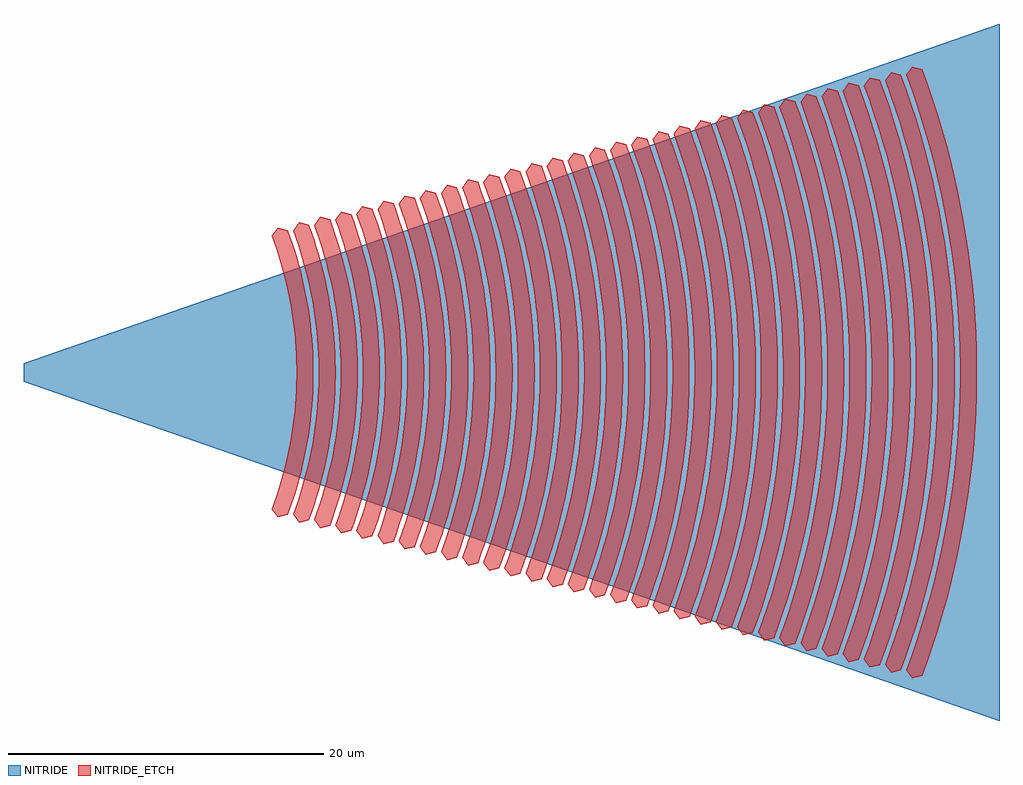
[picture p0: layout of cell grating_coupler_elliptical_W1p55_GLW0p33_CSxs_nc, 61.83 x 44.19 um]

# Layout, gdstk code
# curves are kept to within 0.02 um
import gdstk
lib = gdstk.Library(unit=1e-6, precision=1e-09)
def P(c, l, *ps):  # polygons
    for p in ps: c.add(gdstk.Polygon(p, *l))
NITRIDE = (203, 0)
NITRIDE_ETCH = (204, 0)

grating_coupler_elliptic = lib.new_cell('grating_coupler_elliptical_W1p55_GLW0p33_CSxs_nc')
P(grating_coupler_elliptic, NITRIDE, [(80.42,-22.095),(18.59,-0.6),(18.59,0.6),(80.42,22.095)])
P(grating_coupler_elliptic, NITRIDE_ETCH, [(34.708,-9.171),(34.325,-8.653),(34.629,-7.791),(35.022,-6.486),(35.244,-5.608),(35.517,-4.275),(35.765,-2.483),(35.84,-1.582),(35.89,-0.226),(35.881,0.678),(35.806,2.033),(35.658,3.381),(35.517,4.275),(35.244,5.608),(35.022,6.486),(34.629,7.791),(34.325,8.653),(34.708,9.171),(35.333,9.017),(35.79,7.676),(36.176,6.31),(36.486,4.925),(36.779,3.06),(36.908,1.65),(36.96,0.236),(36.934,-1.179),(36.831,-2.591),(36.649,-3.995),(36.288,-5.85),(35.927,-7.223),(35.333,-9.017)],
  [(36.046,-9.511),(35.665,-8.992),(36.261,-7.195),(36.509,-6.285),(36.817,-4.907),(37.05,-3.514),(37.161,-2.58),(37.239,-1.644),(37.29,-0.235),(37.282,0.704),(37.204,2.113),(37.05,3.514),(36.903,4.443),(36.62,5.828),(36.389,6.741),(35.981,8.097),(35.665,8.992),(36.046,9.511),(36.671,9.358),(37.147,7.965),(37.547,6.547),(37.869,5.111),(38.173,3.176),(38.307,1.712),(38.362,0.245),(38.334,-1.224),(38.227,-2.688),(38.038,-4.147),(37.664,-6.07),(37.289,-7.495),(36.671,-9.358)],
  [(37.387,-9.851),(37.004,-9.333),(37.482,-7.937),(37.756,-6.996),(37.996,-6.047),(38.29,-4.612),(38.441,-3.648),(38.602,-2.192),(38.692,-0.244),(38.683,0.731),(38.602,2.192),(38.441,3.648),(38.29,4.612),(37.996,6.047),(37.756,6.996),(37.482,7.937),(37.004,9.333),(37.387,9.851),(38.012,9.697),(38.504,8.255),(38.918,6.785),(39.252,5.297),(39.567,3.291),(39.706,1.774),(39.762,0.254),(39.734,-1.268),(39.623,-2.786),(39.428,-4.296),(39.038,-6.291),(38.504,-8.255),(38.012,-9.697)],
  [(38.727,-10.191),(38.344,-9.673),(38.839,-8.226),(39.123,-7.251),(39.371,-6.269),(39.676,-4.78),(39.953,-2.776),(40.037,-1.768),(40.092,-0.253),(40.083,0.758),(39.999,2.272),(39.833,3.78),(39.676,4.78),(39.371,6.269),(39.123,7.251),(38.839,8.226),(38.344,9.673),(38.727,10.191),(39.352,10.037),(39.861,8.544),(40.29,7.023),(40.635,5.483),(40.961,3.406),(41.105,1.836),(41.164,0.263),(41.134,-1.312),(41.019,-2.884),(40.817,-4.447),(40.415,-6.511),(39.861,-8.544),(39.352,-10.037)],
  [(40.065,-10.53),(39.684,-10.011),(40.196,-8.515),(40.49,-7.506),(40.747,-6.488),(41.062,-4.948),(41.349,-2.873),(41.436,-1.83),(41.494,-0.262),(41.484,0.784),(41.397,2.352),(41.225,3.913),(41.062,4.948),(40.747,6.488),(40.49,7.506),(40.196,8.515),(39.684,10.011),(40.065,10.53),(40.69,10.377),(41.218,8.833),(41.661,7.26),(42.018,5.667),(42.355,3.521),(42.504,1.898),(42.564,0.272),(42.534,-1.357),(42.415,-2.981),(42.206,-4.597),(42.018,-5.667),(41.789,-6.732),(41.524,-7.788),(41.218,-8.833),(40.69,-10.377)],
  [(41.406,-10.87),(41.023,-10.352),(41.553,-8.804),(41.856,-7.76),(42.122,-6.709),(42.449,-5.116),(42.617,-4.045),(42.795,-2.432),(42.894,-0.27),(42.885,0.811),(42.795,2.432),(42.617,4.045),(42.449,5.116),(42.122,6.709),(41.856,7.76),(41.553,8.804),(41.023,10.352),(41.406,10.87),(42.031,10.716),(42.575,9.122),(42.89,8.042),(43.166,6.951),(43.503,5.302),(43.75,3.636),(43.903,1.961),(43.966,0.28),(43.934,-1.402),(43.863,-2.52),(43.75,-3.636),(43.503,-5.302),(43.166,-6.951),(42.89,-8.042),(42.575,-9.122),(42.031,-10.716)],
  [(42.744,-11.21),(42.363,-10.691),(42.91,-9.093),(43.223,-8.016),(43.498,-6.929),(43.835,-5.284),(44.009,-4.179),(44.141,-3.068),(44.234,-1.955),(44.296,-0.279),(44.285,0.838),(44.192,2.512),(44.009,4.179),(43.835,5.284),(43.498,6.929),(43.223,8.016),(42.91,9.093),(42.363,10.691),(42.744,11.21),(43.369,11.057),(43.754,9.965),(44.1,8.856),(44.542,7.173),(44.889,5.47),(45.144,3.752),(45.302,2.023),(45.366,0.289),(45.334,-1.445),(45.26,-2.6),(45.144,-3.752),(44.889,-5.47),(44.542,-7.173),(44.1,-8.856),(43.754,-9.965),(43.369,-11.057)],
  [(44.084,-11.55),(43.703,-11.031),(44.267,-9.381),(44.59,-8.271),(44.873,-7.149),(45.221,-5.452),(45.401,-4.312),(45.59,-2.592),(45.664,-1.44),(45.696,-0.288),(45.686,0.864),(45.59,2.592),(45.401,4.312),(45.221,5.452),(44.873,7.149),(44.59,8.271),(44.267,9.381),(43.703,11.031),(44.084,11.55),(44.709,11.397),(45.105,10.271),(45.462,9.128),(45.917,7.393),(46.275,5.638),(46.538,3.866),(46.701,2.085),(46.768,0.298),(46.734,-1.49),(46.658,-2.68),(46.538,-3.866),(46.275,-5.638),(45.917,-7.393),(45.462,-9.128),(45.105,-10.271),(44.709,-11.397)],
  [(45.423,-11.89),(45.042,-11.371),(45.441,-10.24),(45.957,-8.526),(46.379,-6.789),(46.608,-5.62),(46.792,-4.444),(46.988,-2.672),(47.064,-1.485),(47.098,-0.297),(47.087,0.891),(46.988,2.672),(46.792,4.444),(46.608,5.62),(46.379,6.789),(45.957,8.526),(45.441,10.24),(45.042,11.371),(45.423,11.89),(46.048,11.737),(46.457,10.576),(46.824,9.4),(47.293,7.613),(47.662,5.806),(47.932,3.982),(48.1,2.147),(48.168,0.307),(48.134,-1.535),(48.056,-2.76),(47.932,-3.982),(47.662,-5.806),(47.293,-7.613),(46.824,-9.4),(46.457,-10.576),(46.048,-11.737)],
  [(46.763,-12.23),(46.382,-11.712),(46.792,-10.546),(47.324,-8.781),(47.624,-7.591),(47.994,-5.788),(48.184,-4.577),(48.329,-3.361),(48.431,-2.141),(48.498,-0.306),(48.487,0.918),(48.385,2.751),(48.184,4.577),(47.994,5.788),(47.624,7.591),(47.324,8.781),(46.792,10.546),(46.382,11.712),(46.763,12.23),(47.388,12.076),(47.808,10.882),(48.186,9.672),(48.668,7.833),(49.048,5.974),(49.326,4.097),(49.499,2.209),(49.57,0.316),(49.534,-1.579),(49.453,-2.839),(49.326,-4.097),(49.048,-5.974),(48.668,-7.833),(48.186,-9.672),(47.808,-10.882),(47.388,-12.076)],
  [(48.102,-12.568),(47.721,-12.05),(48.144,-10.852),(48.691,-9.035),(49.138,-7.194),(49.38,-5.956),(49.576,-4.71),(49.783,-2.831),(49.864,-1.574),(49.9,-0.315),(49.888,0.944),(49.783,2.831),(49.576,4.71),(49.38,5.956),(49.138,7.194),(48.691,9.035),(48.144,10.852),(47.721,12.05),(48.102,12.568),(48.727,12.416),(49.16,11.188),(49.548,9.944),(50.044,8.054),(50.434,6.142),(50.72,4.213),(50.898,2.271),(50.97,0.325),(50.934,-1.624),(50.791,-3.567),(50.541,-5.5),(50.186,-7.418),(49.89,-8.686),(49.548,-9.944),(49.16,-11.188),(48.727,-12.416)],
  [(49.442,-12.909),(49.061,-12.391),(49.694,-10.539),(50.058,-9.291),(50.376,-8.031),(50.767,-6.124),(50.968,-4.843),(51.122,-3.556),(51.229,-2.265),(51.3,-0.324),(51.288,0.971),(51.181,2.911),(50.968,4.843),(50.767,6.124),(50.376,8.031),(50.058,9.291),(49.694,10.539),(49.061,12.391),(49.442,12.909),(50.067,12.755),(50.511,11.495),(50.91,10.216),(51.42,8.273),(51.821,6.31),(52.114,4.328),(52.297,2.333),(52.37,0.334),(52.334,-1.667),(52.188,-3.664),(51.931,-5.65),(51.565,-7.621),(51.261,-8.924),(50.91,-10.216),(50.511,-11.495),(50.067,-12.755)],
  [(50.782,-13.249),(50.4,-12.731),(51.051,-10.828),(51.425,-9.545),(51.897,-7.6),(52.153,-6.292),(52.36,-4.976),(52.579,-2.991),(52.664,-1.662),(52.701,-0.333),(52.689,0.998),(52.579,2.991),(52.36,4.976),(52.153,6.292),(51.897,7.6),(51.425,9.545),(51.051,10.828),(50.4,12.731),(50.782,13.249),(51.408,13.095),(51.862,11.802),(52.272,10.488),(52.795,8.494),(53.207,6.478),(53.508,4.443),(53.696,2.396),(53.772,0.343),(53.734,-1.712),(53.584,-3.762),(53.32,-5.801),(52.945,-7.824),(52.633,-9.162),(52.272,-10.488),(51.862,-11.802),(51.408,-13.095)],
  [(52.121,-13.589),(51.74,-13.07),(52.198,-11.771),(52.792,-9.8),(53.127,-8.472),(53.539,-6.46),(53.752,-5.108),(53.914,-3.751),(54.027,-2.39),(54.102,-0.341),(54.09,1.024),(53.976,3.071),(53.752,5.108),(53.539,6.46),(53.127,8.472),(52.792,9.8),(52.198,11.771),(51.74,13.07),(52.121,13.589),(52.746,13.436),(53.214,12.107),(53.634,10.76),(54.171,8.714),(54.593,6.646),(54.903,4.558),(55.095,2.458),(55.172,0.351),(55.134,-1.757),(54.98,-3.859),(54.709,-5.951),(54.324,-8.027),(54.004,-9.399),(53.634,-10.76),(53.214,-12.107),(52.746,-13.436)],
  [(53.462,-13.929),(53.079,-13.411),(53.549,-12.076),(53.968,-10.732),(54.337,-9.375),(54.797,-7.319),(55.143,-5.241),(55.31,-3.849),(55.426,-2.452),(55.503,-0.35),(55.49,1.051),(55.374,3.151),(55.233,4.546),(54.925,6.628),(54.503,8.691),(54.158,10.055),(53.765,11.406),(53.079,13.411),(53.462,13.929),(54.087,13.775),(54.565,12.414),(54.996,11.032),(55.547,8.935),(55.979,6.814),(56.297,4.674),(56.494,2.52),(56.574,0.36),(56.534,-1.8),(56.376,-3.957),(56.098,-6.102),(55.704,-8.23),(55.375,-9.637),(54.996,-11.032),(54.565,-12.414),(54.087,-13.775)],
  [(54.8,-14.268),(54.419,-13.749),(55.122,-11.695),(55.525,-10.309),(55.878,-8.913),(56.312,-6.796),(56.535,-5.375),(56.772,-3.231),(56.864,-1.796),(56.904,-0.359),(56.891,1.078),(56.825,2.514),(56.706,3.946),(56.535,5.375),(56.18,7.503),(55.709,9.613),(55.122,11.695),(54.419,13.749),(54.8,14.268),(55.425,14.115),(55.917,12.72),(56.358,11.304),(56.922,9.155),(57.366,6.982),(57.691,4.789),(57.893,2.582),(57.974,0.369),(57.934,-1.846),(57.772,-4.054),(57.488,-6.252),(57.083,-8.433),(56.747,-9.875),(56.358,-11.304),(55.917,-12.72),(55.425,-14.115)],
  [(56.141,-14.608),(55.758,-14.09),(56.479,-11.984),(56.892,-10.564),(57.254,-9.132),(57.698,-6.964),(57.927,-5.508),(58.102,-4.044),(58.224,-2.576),(58.304,-0.368),(58.292,1.104),(58.224,2.576),(58.102,4.044),(57.927,5.508),(57.563,7.69),(57.08,9.85),(56.479,11.984),(55.758,14.09),(56.141,14.608),(56.766,14.454),(57.501,12.302),(57.926,10.846),(58.298,9.376),(58.752,7.15),(59.085,4.904),(59.292,2.644),(59.376,0.378),(59.334,-1.89),(59.168,-4.152),(58.877,-6.403),(58.463,-8.636),(58.118,-10.112),(57.72,-11.576),(57.268,-13.026),(56.766,-14.454)],
  [(57.479,-14.948),(57.098,-14.429),(57.836,-12.273),(58.259,-10.819),(58.629,-9.353),(59.084,-7.132),(59.319,-5.64),(59.498,-4.142),(59.623,-2.638),(59.706,-0.377),(59.692,1.131),(59.623,2.638),(59.498,4.142),(59.319,5.64),(58.946,7.874),(58.452,10.088),(57.836,12.273),(57.098,14.429),(57.479,14.948),(58.104,14.795),(58.858,12.591),(59.293,11.101),(59.673,9.595),(60.138,7.318),(60.479,5.019),(60.691,2.706),(60.776,0.387),(60.734,-1.934),(60.564,-4.25),(60.266,-6.553),(59.842,-8.839),(59.49,-10.35),(59.082,-11.848),(58.62,-13.332),(58.104,-14.795)],
  [(58.819,-15.288),(58.438,-14.769),(58.955,-13.301),(59.626,-11.074),(60.005,-9.573),(60.471,-7.3),(60.711,-5.773),(60.965,-3.47),(61.064,-1.929),(61.106,-0.386),(61.093,1.158),(61.022,2.7),(60.894,4.239),(60.711,5.773),(60.329,8.06),(59.823,10.325),(59.192,12.563),(58.438,14.769),(58.819,15.288),(59.444,15.135),(59.971,13.637),(60.444,12.12),(61.049,9.817),(61.525,7.486),(61.873,5.135),(62.09,2.768),(62.178,0.396),(62.134,-1.979),(61.96,-4.347),(61.655,-6.704),(61.222,-9.042),(60.861,-10.587),(60.444,-12.12),(59.971,-13.637),(59.444,-15.135)],
  [(60.16,-15.628),(59.777,-15.11),(60.549,-12.852),(60.993,-11.329),(61.381,-9.793),(61.857,-7.468),(62.103,-5.906),(62.29,-4.337),(62.421,-2.763),(62.508,-0.395),(62.493,1.184),(62.421,2.763),(62.29,4.337),(62.103,5.906),(61.712,8.245),(61.194,10.563),(60.549,12.852),(59.777,15.11),(60.16,15.628),(60.785,15.474),(61.322,13.944),(61.806,12.392),(62.425,10.037),(62.911,7.654),(63.267,5.25),(63.489,2.831),(63.578,0.405),(63.534,-2.022),(63.356,-4.445),(63.045,-6.854),(62.601,-9.245),(62.232,-10.825),(61.806,-12.392),(61.322,-13.944),(60.785,-15.474)],
  [(61.498,-15.968),(61.117,-15.45),(61.906,-13.141),(62.566,-10.801),(63.095,-8.432),(63.376,-6.839),(63.597,-5.237),(63.76,-3.63),(63.864,-2.018),(63.908,-0.404),(63.894,1.211),(63.82,2.825),(63.686,4.434),(63.495,6.039),(63.095,8.432),(62.566,10.801),(61.906,13.141),(61.117,15.45),(61.498,15.968),(62.123,15.814),(62.674,14.25),(63.168,12.664),(63.8,10.257),(64.297,7.822),(64.661,5.365),(64.888,2.893),(64.98,0.414),(64.934,-2.068),(64.752,-4.542),(64.434,-7.005),(63.981,-9.448),(63.604,-11.063),(63.168,-12.664),(62.674,-14.25),(62.123,-15.814)],
  [(62.838,-16.307),(62.457,-15.789),(63.009,-14.22),(63.727,-11.839),(64.312,-9.427),(64.765,-6.989),(64.991,-5.352),(65.158,-3.71),(65.264,-2.062),(65.31,-0.413),(65.295,1.237),(65.219,2.887),(65.082,4.532),(64.886,6.172),(64.478,8.616),(63.937,11.038),(63.263,13.43),(62.457,15.789),(62.838,16.307),(63.463,16.153),(64.285,13.748),(64.761,12.121),(65.176,10.478),(65.684,7.99),(66.055,5.48),(66.287,2.955),(66.38,0.423),(66.334,-2.112),(66.148,-4.64),(65.823,-7.155),(65.36,-9.651),(64.975,-11.3),(64.53,-12.936),(64.025,-14.556),(63.463,-16.153)],
  [(64.177,-16.647),(63.796,-16.129),(64.62,-13.719),(65.309,-11.276),(65.861,-8.803),(66.154,-7.14),(66.386,-5.468),(66.556,-3.79),(66.664,-2.107),(66.71,-0.421),(66.695,1.264),(66.618,2.949),(66.386,5.468),(66.154,7.14),(65.861,8.803),(65.309,11.276),(64.62,13.719),(63.796,16.129),(64.177,16.647),(64.802,16.493),(65.377,14.863),(65.892,13.208),(66.347,11.538),(66.74,9.854),(67.07,8.158),(67.45,5.596),(67.686,3.017),(67.781,0.431),(67.734,-2.155),(67.544,-4.737),(67.212,-7.306),(66.74,-9.854),(66.347,-11.538),(65.892,-13.208),(65.377,-14.863),(64.802,-16.493)],
  [(65.517,-16.987),(65.135,-16.469),(65.977,-14.008),(66.68,-11.514),(67.071,-9.833),(67.544,-7.29),(67.78,-5.583),(67.953,-3.87),(68.064,-2.151),(68.112,-0.43),(68.096,1.291),(68.017,3.011),(67.78,5.583),(67.544,7.29),(67.071,9.833),(66.68,11.514),(65.977,14.008),(65.135,16.469),(65.517,16.987),(66.143,16.833),(66.728,15.169),(67.254,13.48),(67.718,11.776),(68.119,10.057),(68.602,7.456),(68.844,5.711),(69.085,3.079),(69.182,0.44),(69.134,-2.201),(68.94,-4.835),(68.602,-7.456),(68.119,-10.057),(67.718,-11.776),(67.254,-13.48),(66.728,-15.169),(66.143,-16.833)],
  [(66.856,-17.327),(66.475,-16.808),(67.334,-14.297),(68.051,-11.751),(68.451,-10.036),(68.933,-7.44),(69.174,-5.698),(69.351,-3.95),(69.464,-2.195),(69.512,-0.439),(69.497,1.317),(69.416,3.073),(69.174,5.698),(68.933,7.44),(68.451,10.036),(68.051,11.751),(67.334,14.297),(66.475,16.808),(66.856,17.327),(67.481,17.174),(68.08,15.475),(68.616,13.752),(69.089,12.013),(69.499,10.26),(69.843,8.494),(70.238,5.826),(70.484,3.141),(70.584,0.449),(70.534,-2.245),(70.336,-4.933),(69.991,-7.606),(69.499,-10.26),(69.089,-12.013),(68.616,-13.752),(68.08,-15.475),(67.481,-17.174)],
  [(68.197,-17.667),(67.814,-17.149),(68.691,-14.587),(69.423,-11.989),(69.83,-10.239),(70.322,-7.591),(70.568,-5.813),(70.749,-4.029),(70.864,-2.24),(70.914,-0.448),(70.897,1.344),(70.815,3.136),(70.667,4.922),(70.322,7.591),(69.83,10.239),(69.423,11.989),(68.691,14.587),(67.814,17.149),(68.197,17.667),(68.822,17.513),(69.431,15.781),(69.978,14.024),(70.461,12.251),(70.878,10.463),(71.38,7.757),(71.733,5.03),(71.934,2.29),(71.984,0.458),(71.934,-2.29),(71.733,-5.03),(71.38,-7.757),(70.878,-10.463),(70.461,-12.251),(69.978,-14.024),(69.431,-15.781),(68.822,-17.513)],
  [(69.536,-18.006),(69.154,-17.488),(70.048,-14.875),(70.794,-12.227),(71.21,-10.442),(71.711,-7.741),(71.962,-5.929),(72.146,-4.109),(72.264,-2.284),(72.315,-0.457),(72.298,1.371),(72.214,3.198),(72.063,5.02),(71.711,7.741),(71.21,10.442),(70.794,12.227),(70.048,14.875),(69.154,17.488),(69.536,18.006),(70.162,17.852),(70.782,16.087),(71.341,14.297),(71.832,12.489),(72.258,10.666),(72.769,7.907),(73.129,5.128),(73.334,2.334),(73.386,0.467),(73.334,-2.334),(73.129,-5.128),(72.769,-7.907),(72.258,-10.666),(71.832,-12.489),(71.341,-14.297),(70.782,-16.087),(70.162,-17.852)],
  [(70.875,-18.346),(70.494,-17.827),(71.404,-15.165),(72.166,-12.464),(72.589,-10.645),(73.101,-7.892),(73.356,-6.044),(73.544,-4.189),(73.664,-2.328),(73.716,-0.466),(73.699,1.397),(73.613,3.26),(73.459,5.117),(73.101,7.892),(72.589,10.645),(72.166,12.464),(71.404,15.165),(70.494,17.827),(70.875,18.346),(71.5,18.193),(72.134,16.392),(72.703,14.569),(73.204,12.726),(73.637,10.869),(74.159,8.058),(74.525,5.225),(74.734,2.378),(74.786,0.476),(74.734,-2.378),(74.525,-5.225),(74.159,-8.058),(73.637,-10.869),(73.204,-12.726),(72.703,-14.569),(72.134,-16.392),(71.5,-18.193)],
  [(72.216,-18.686),(71.833,-18.168),(72.761,-15.453),(73.537,-12.702),(74.16,-9.915),(74.49,-8.042),(74.75,-6.159),(74.942,-4.269),(75.064,-2.373),(75.116,-0.475),(75.099,1.424),(75.012,3.322),(74.855,5.215),(74.49,8.042),(74.16,9.915),(73.537,12.702),(72.761,15.453),(71.833,18.168),(72.216,18.686),(72.841,18.532),(73.485,16.699),(74.065,14.841),(74.575,12.964),(75.017,11.072),(75.548,8.208),(75.921,5.323),(76.134,2.423),(76.188,0.485),(76.134,-2.423),(75.921,-5.323),(75.548,-8.208),(75.017,-11.072),(74.575,-12.964),(74.065,-14.841),(73.485,-16.699),(72.841,-18.532)],
  [(73.554,-19.026),(73.173,-18.507),(73.821,-16.668),(74.662,-13.879),(75.348,-11.051),(75.879,-8.193),(76.144,-6.274),(76.339,-4.349),(76.464,-2.417),(76.518,-0.484),(76.5,1.451),(76.411,3.383),(76.251,5.312),(75.879,8.193),(75.348,11.051),(74.662,13.879),(73.821,16.668),(73.173,18.507),(73.554,19.026),(74.179,18.873),(74.837,17.006),(75.427,15.113),(75.946,13.202),(76.396,11.275),(76.937,8.359),(77.317,5.42),(77.534,2.467),(77.588,0.494),(77.534,-2.467),(77.317,-5.42),(76.937,-8.359),(76.396,-11.275),(75.946,-13.202),(75.427,-15.113),(74.837,-17.006),(74.179,-18.873)],
  [(74.894,-19.366),(74.513,-18.848),(75.475,-16.032),(76.28,-13.177),(76.926,-10.287),(77.268,-8.343),(77.538,-6.389),(77.737,-4.429),(77.864,-2.463),(77.918,-0.492),(77.9,1.477),(77.81,3.446),(77.647,5.41),(77.268,8.343),(76.926,10.287),(76.28,13.177),(75.475,16.032),(74.513,18.848),(74.894,19.366),(75.519,19.212),(76.188,17.311),(76.789,15.385),(77.318,13.439),(77.776,11.478),(78.326,8.509),(78.713,5.518),(78.934,2.511),(78.99,0.502),(78.934,-2.511),(78.713,-5.518),(78.326,-8.509),(77.776,-11.478),(77.318,-13.439),(76.789,-15.385),(76.188,-17.311),(75.519,-19.212)])

lib.write_gds('grating_coupler_elliptical_W1p55_GLW0p33_CSxs_nc.gds')
